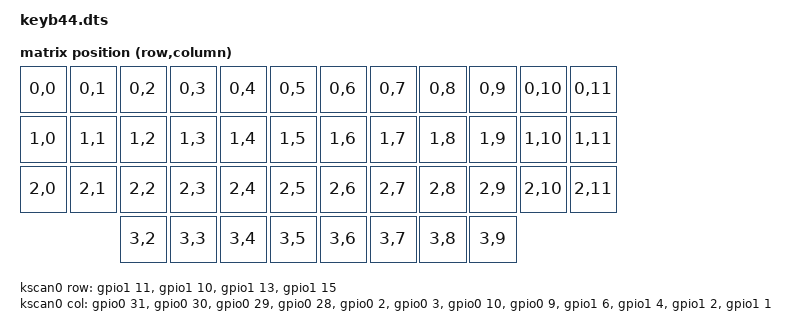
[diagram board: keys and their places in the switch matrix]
/dts-v1/;
#include <nordic/nrf52840_qiaa.dtsi>
#include <dt-bindings/zmk/matrix_transform.h>
#include <dt-bindings/led/led.h>

/ {
    chosen {
		zephyr,code-partition = &code_partition;
		zephyr,sram = &sram0;
		zephyr,flash = &flash0;

        zmk,kscan = &kscan0;

        zmk,matrix-transform = &default_transform;
       
        zmk,backlight = &backlight;
        zmk,battery = &max17048;

        zmk,caps-lock-led = &caps_lock_led;/*added by grok*/

        /*zmk,led-capslock = &caps_lock_led;*//*remove aliases!*/
        /* zephyr,console = &cdc_acm_uart; */
    };

    kscan0: kscan_0 {
        compatible = "zmk,kscan-gpio-matrix";
        label = "KSCAN";
		diode-direction = "col2row";
		wakeup-source;
        debounce-press-ms = <1>;
		debounce-release-ms = <5>;

        row-gpios
            = <&gpio1 11 (GPIO_ACTIVE_HIGH | GPIO_PULL_DOWN)>
            , <&gpio1 10 (GPIO_ACTIVE_HIGH | GPIO_PULL_DOWN)>
            , <&gpio1 13 (GPIO_ACTIVE_HIGH | GPIO_PULL_DOWN)>
            , <&gpio1 15 (GPIO_ACTIVE_HIGH | GPIO_PULL_DOWN)>;
        col-gpios
 			= <&gpio0 31 GPIO_ACTIVE_HIGH>
        	, <&gpio0 30 GPIO_ACTIVE_HIGH>
        	, <&gpio0 29 GPIO_ACTIVE_HIGH>
        	, <&gpio0 28 GPIO_ACTIVE_HIGH>
        	, <&gpio0  2 GPIO_ACTIVE_HIGH>
        	, <&gpio0  3 GPIO_ACTIVE_HIGH>
        	, <&gpio0 10 GPIO_ACTIVE_HIGH>
        	, <&gpio0  9 GPIO_ACTIVE_HIGH>
        	, <&gpio1  6 GPIO_ACTIVE_HIGH>
        	, <&gpio1  4 GPIO_ACTIVE_HIGH>
        	, <&gpio1  2 GPIO_ACTIVE_HIGH>
        	, <&gpio1  1 GPIO_ACTIVE_HIGH>;
    };

    default_transform: matrix_transform_0 {
        compatible = "zmk,matrix-transform";
        columns = <12>;
        rows = <4>;
        map = <
			RC(0,0) RC(0,1) RC(0,2) RC(0,3) RC(0,4) RC(0,5) RC(0,6) RC(0,7) RC(0,8) RC(0,9) RC(0,10) RC(0,11)
            RC(1,0) RC(1,1) RC(1,2) RC(1,3) RC(1,4) RC(1,5) RC(1,6) RC(1,7) RC(1,8) RC(1,9) RC(1,10) RC(1,11)
            RC(2,0) RC(2,1) RC(2,2) RC(2,3) RC(2,4) RC(2,5) RC(2,6) RC(2,7) RC(2,8) RC(2,9) RC(2,10) RC(2,11)
                            RC(3,2) RC(3,3) RC(3,4) RC(3,5) RC(3,6) RC(3,7) RC(3,8) RC(3,9)
        >;
    };

	

    backlight: pwmleds {
        compatible = "pwm-leds";
        status = "okay";
        pwm_led_0 {
            pwms = <&pwm0 0 PWM_MSEC(10) PWM_POLARITY_INVERTED>; // Add for P-MOSFET active-low control
            status = "okay";
        }; 
    };

             // Independent Caps Lock PWM LED 
    caps_leds: caps_pwm_leds {
        compatible = "pwm-leds";
        status = "okay";  
        caps_lock_led: caps_lock_led {      
            label = "Caps Lock LED";
            pwms = <&pwm0 1 PWM_MSEC(10) PWM_POLARITY_NORMAL>;
            status = "okay";
        };
    };

    aliases {
        caps-lock-indicator-led = &caps_lock_led;   
    };

            // Independent  Layers PWM LEDs 
    layer_leds: layer_leds {
        compatible = "pwm-leds";
        status = "okay";

        lower_led: lower_led {
            label = "LOWER LED";
            pwms = <&pwm0 2 PWM_MSEC(20) PWM_POLARITY_NORMAL>;  // Try INVERTED if LEDs don't light; adjust period if needed
            status = "okay";
        };

        raise_led: raise_led {
            label = "RAISE LED";
            pwms = <&pwm0 3 PWM_MSEC(20) PWM_POLARITY_NORMAL>;  // Try INVERTED if LEDs don't light; adjust period if needed
            status = "okay";
        };
    };
    

	leds {
        compatible = "gpio-leds";

        /* not used for now but this usual blueled control
        blue_led: led_0 {
            gpios = <&gpio1 3 GPIO_ACTIVE_HIGH>; // another blueled implementation
        };
        */

        user_led: led_0 {
            gpios = <&gpio1 3 GPIO_ACTIVE_HIGH>;  // 	P1.03 blue led 
			label = "User LED";
       };
    };

	aliases {
        indicator-led = &user_led;
    };	
};


&gpio0 {
	status = "okay";
};

&gpio1 {
	status = "okay";
};

zephyr_udc0: &usbd {
    status = "okay";
};



&pinctrl {

	i2c0_default: i2c0_default {
       group1 {
           psels = <NRF_PSEL(TWIM_SDA, 0, 7)>,
                   <NRF_PSEL(TWIM_SCL, 1, 9)>;
   		};
     };
    i2c0_sleep: i2c0_sleep {
       group1 {
           psels = <NRF_PSEL(TWIM_SDA, 0, 7)>,
                   <NRF_PSEL(TWIM_SCL, 1, 9)>;
           low-power-enable;
       	};
     };	

    pwm0_default: pwm0_default {
        group1 {
            psels = <NRF_PSEL(PWM_OUT0, 0, 4)>; // P0.4 for backlight PWM //				
        };
        group2 { 
            psels = <NRF_PSEL(PWM_OUT1, 1, 0)>; // P1.0 for capslock PWM
        };
        group3 { 
            psels = <NRF_PSEL(PWM_OUT2, 0, 22)>,  
                    <NRF_PSEL(PWM_OUT3, 0, 5)>;  // P0.22  Lower LED (channel 2) P0.05  Raise LED (channel 3)
        };
     };

    pwm0_sleep: pwm0_sleep {
        group1 {
            psels = <NRF_PSEL(PWM_OUT0, 0, 4)>; // <NRF_PSEL(PWM_OUT0, 1, 0)>;
            low-power-enable;
        };
		group2 { 
            psels = <NRF_PSEL(PWM_OUT1, 1, 0)>; // P1.0 for capslock PWM
            low-power-enable;
        };
        group3 { 
             psels = <NRF_PSEL(PWM_OUT2, 0, 22)>,  
                     <NRF_PSEL(PWM_OUT3, 0, 5)>;  // P0.22  Lower LED (channel 2) P0.05  Raise LED (channel 3)
             low-power-enable;
        };			            
     };

};

 

&pwm0 {
    status = "okay";
    pinctrl-0 = <&pwm0_default>;
    pinctrl-1 = <&pwm0_sleep>;
    pinctrl-names = "default", "sleep";
};




&i2c0 {
    compatible = "nordic,nrf-twi";
    status = "okay";
 	pinctrl-0 = <&i2c0_default>;
    pinctrl-1 = <&i2c0_sleep>;
    pinctrl-names = "default", "sleep";
	clock-frequency = <100000>;

    max17048: max17048@36 {
        compatible = "zmk,maxim-max17048";
        label = "MAX17048";
        reg = <0x36>;
        status = "okay";
    };
};





&flash0 {
	/*
	 * For more information, see:
	 * http://docs.zephyrproject.org/latest/devices/dts/flash_partitions.html
	 */
	partitions {
		compatible = "fixed-partitions";
		#address-cells = <1>;
		#size-cells = <1>;

		sd_partition: partition@0 {
			label = "softdevice";
			reg = <0x00000000 0x00026000>;
		};
		code_partition: partition@26000 {
			label = "code_partition";
			reg = <0x00026000 0x000c6000>;
		};

		/*
		 * The flash starting at 0x000ec000 and ending at
		 * 0x000f3fff is reserved for use by the application.
		 */

		/*
		 * Storage partition will be used by FCB/LittleFS/NVS
		 * if enabled.
		 */
		storage_partition: partition@ec000 {
			label = "storage";
			reg = <0x000ec000 0x00008000>;
		};


		boot_partition: partition@f4000 {
			label = "adafruit_boot";
			reg = <0x000f4000 0x0000c000>;
		};
	};
};
